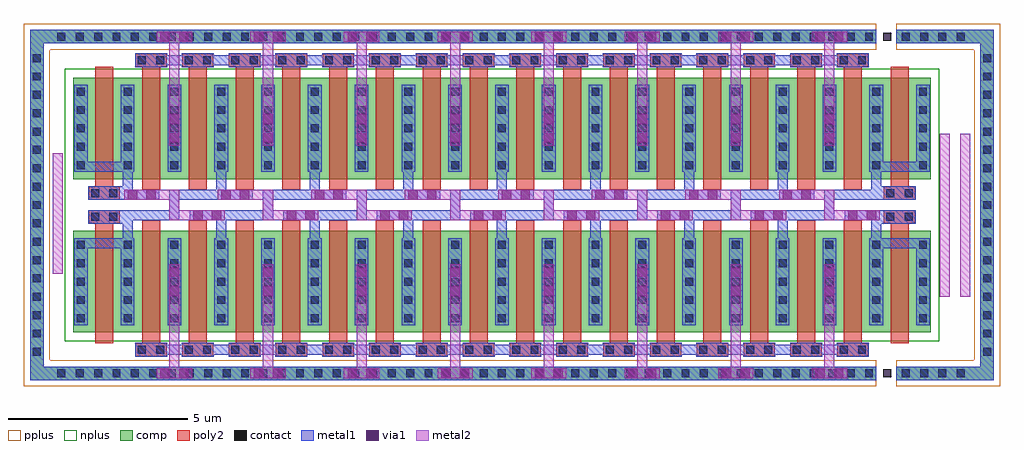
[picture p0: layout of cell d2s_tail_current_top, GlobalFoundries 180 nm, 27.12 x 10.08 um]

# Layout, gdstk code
from math import pi, radians
import gdstk
lib = gdstk.Library(unit=1e-6, precision=5e-09)
def R(c, l, rs):  # rectangles x0, y0, x1, y1
    for r in rs: c.add(gdstk.rectangle(r[:2], r[2:], *l))
def A(c, l, x, y, w, h, nx, ny, dx, dy):  # array of equal rectangles
    R(c, l, [(x+i*dx, y+j*dy, x+i*dx+w, y+j*dy+h) for i in range(nx) for j in range(ny)])
comp = (22, 0)
poly2 = (30, 0)
pplus = (31, 0)
nplus = (32, 0)
contact = (33, 0)
metal1 = (34, 0)
via1 = (35, 0)
metal2 = (36, 0)

d2s_tail_current_ncell_1 = lib.new_cell('d2s_tail_current_ncell_1$1$1')
R(d2s_tail_current_ncell_1, comp, [(0,0.3,0.42,3.12), (0.42,0.3,1.3,3.12), (1.3,0.3,1.72,3.12)])
R(d2s_tail_current_ncell_1, poly2, [(0.61,0,1.11,3.42)])
A(d2s_tail_current_ncell_1, contact, 0.1, 0.58, 0.22, 0.22, 1, 5, 0, 0.51)
A(d2s_tail_current_ncell_1, contact, 1.4, 0.58, 0.22, 0.22, 1, 5, 0, 0.51)
R(d2s_tail_current_ncell_1, metal1, [(0.02,0.5,0.4,2.92), (1.32,0.5,1.7,2.92)])

d2s_tail_current_ncell_4 = lib.new_cell('d2s_tail_current_ncell_4$1')
A(d2s_tail_current_ncell_4, poly2, 0.425, 3.42, 0.87, 0.36, 4, 1, 1.3, 0)
R(d2s_tail_current_ncell_4, contact, [(0.495,3.49,0.715,3.71), (1.005,3.49,1.225,3.71), (1.795,3.49,2.015,3.71), (2.305,3.49,2.525,3.71), (3.095,3.49,3.315,3.71), (3.605,3.49,3.825,3.71), (4.395,3.49,4.615,3.71), (4.905,3.49,5.125,3.71)])
A(d2s_tail_current_ncell_4, metal1, 0.415, 3.41, 0.89, 0.38, 4, 1, 1.3, 0)
d2s_tail_current_ncell_4.add(gdstk.Reference(d2s_tail_current_ncell_1, (0,0)))
d2s_tail_current_ncell_4.add(gdstk.Reference(d2s_tail_current_ncell_1, (1.3,0)))
d2s_tail_current_ncell_4.add(gdstk.Reference(d2s_tail_current_ncell_1, (2.6,0)))
d2s_tail_current_ncell_4.add(gdstk.Reference(d2s_tail_current_ncell_1, (3.9,0)))

c_d2s_tail_current_ncell_4 = lib.new_cell('d2s_tail_current_ncell_4_4')
R(c_d2s_tail_current_ncell_4, via1, [(1.12,0.23,1.38,0.49), (1.64,0.23,1.9,0.49), (3.72,0.23,3.98,0.49), (4.24,0.23,4.5,0.49), (1.38,2.52,1.64,2.78), (3.98,2.52,4.24,2.78), (1.38,3.04,1.64,3.3), (3.98,3.04,4.24,3.3), (2.03,4.63,2.29,4.89), (2.55,4.63,2.81,4.89), (4.63,4.63,4.89,4.89), (5.15,4.63,5.41,4.89), (0.21,5.19,0.47,5.45), (0.73,5.19,0.99,5.45), (2.81,5.19,3.07,5.45), (3.33,5.19,3.59,5.45), (1.38,6.78,1.64,7.04), (3.98,6.78,4.24,7.04), (1.38,7.3,1.64,7.56), (3.98,7.3,4.24,7.56), (1.12,9.59,1.38,9.85), (1.64,9.59,1.9,9.85), (3.72,9.59,3.98,9.85), (4.24,9.59,4.5,9.85)])
c_d2s_tail_current_ncell_4.add(gdstk.FlexPath([(1.305,1.02),(5.41,1.02)], 0.28, ends="flush", simple_path=True, layer=34, datatype=0))  # metal1
c_d2s_tail_current_ncell_4.add(gdstk.FlexPath([(2.81,5.96),(2.81,5.46)], 0.28, ends="flush", simple_path=True, layer=34, datatype=0))  # metal1
c_d2s_tail_current_ncell_4.add(gdstk.FlexPath([(0.21,9.72),(5.41,9.72)], 0.38, ends="flush", simple_path=True, layer=34, datatype=0))  # metal1
c_d2s_tail_current_ncell_4.add(gdstk.FlexPath([(2.81,4.12),(2.81,4.62)], 0.28, ends="flush", simple_path=True, layer=34, datatype=0))  # metal1
c_d2s_tail_current_ncell_4.add(gdstk.FlexPath([(0.21,4.12),(0.21,4.62)], 0.28, ends="flush", simple_path=True, layer=34, datatype=0))  # metal1
c_d2s_tail_current_ncell_4.add(gdstk.FlexPath([(0.21,5.96),(0.21,5.46)], 0.28, ends="flush", simple_path=True, layer=34, datatype=0))  # metal1
c_d2s_tail_current_ncell_4.add(gdstk.FlexPath([(2.91,5.32),(1.51,5.32),(1.51,4.76),(0.07,4.76)], 0.28, ends="flush", simple_path=True, layer=34, datatype=0))  # metal1
c_d2s_tail_current_ncell_4.add(gdstk.FlexPath([(1.09,5.32),(0.07,5.32)], 0.28, ends="flush", simple_path=True, layer=34, datatype=0))  # metal1
c_d2s_tail_current_ncell_4.add(gdstk.FlexPath([(5.41,4.12),(5.41,4.62)], 0.28, ends="flush", simple_path=True, layer=34, datatype=0))  # metal1
c_d2s_tail_current_ncell_4.add(gdstk.FlexPath([(5.55,5.32),(4.11,5.32),(4.11,4.76),(2.71,4.76)], 0.28, ends="flush", simple_path=True, layer=34, datatype=0))  # metal1
c_d2s_tail_current_ncell_4.add(gdstk.FlexPath([(3.69,5.32),(2.71,5.32)], 0.28, ends="flush", simple_path=True, layer=34, datatype=0))  # metal1
c_d2s_tail_current_ncell_4.add(gdstk.FlexPath([(5.41,5.96),(5.41,5.46)], 0.28, ends="flush", simple_path=True, layer=34, datatype=0))  # metal1
c_d2s_tail_current_ncell_4.add(gdstk.FlexPath([(2.81,4.12),(2.81,4.62)], 0.28, ends="flush", simple_path=True, layer=34, datatype=0))  # metal1
c_d2s_tail_current_ncell_4.add(gdstk.FlexPath([(5.55,4.76),(4.53,4.76)], 0.28, ends="flush", simple_path=True, layer=34, datatype=0))  # metal1
c_d2s_tail_current_ncell_4.add(gdstk.FlexPath([(2.81,5.96),(2.81,5.46)], 0.28, ends="flush", simple_path=True, layer=34, datatype=0))  # metal1
c_d2s_tail_current_ncell_4.add(gdstk.FlexPath([(2.91,4.76),(1.93,4.76)], 0.28, ends="flush", simple_path=True, layer=34, datatype=0))  # metal1
c_d2s_tail_current_ncell_4.add(gdstk.FlexPath([(1.305,9.06),(5.41,9.06)], 0.28, ends="flush", simple_path=True, layer=34, datatype=0))  # metal1
c_d2s_tail_current_ncell_4.add(gdstk.FlexPath([(0.21,0.36),(5.41,0.36)], 0.38, ends="flush", simple_path=True, layer=34, datatype=0))  # metal1
c_d2s_tail_current_ncell_4.add(gdstk.FlexPath([(0.21,9.72),(5.41,9.72)], 0.38, ends="flush", simple_path=True, layer=22, datatype=0))  # comp
c_d2s_tail_current_ncell_4.add(gdstk.FlexPath([(0.21,0.36),(5.41,0.36)], 0.38, ends="flush", simple_path=True, layer=22, datatype=0))  # comp
c_d2s_tail_current_ncell_4.add(gdstk.FlexPath([(2.91,4.76),(1.51,4.76),(1.51,5.32),(0.11,5.32)], 0.28, ends="flush", simple_path=True, layer=36, datatype=0))  # metal2
c_d2s_tail_current_ncell_4.add(gdstk.FlexPath([(5.51,4.76),(4.11,4.76),(4.11,5.32),(2.71,5.32)], 0.28, ends="flush", simple_path=True, layer=36, datatype=0))  # metal2
c_d2s_tail_current_ncell_4.add(gdstk.FlexPath([(4.11,6.68),(4.11,7.66)], 0.28, ends="flush", simple_path=True, layer=36, datatype=0))  # metal2
c_d2s_tail_current_ncell_4.add(gdstk.FlexPath([(1.51,6.68),(1.51,7.66)], 0.28, ends="flush", simple_path=True, layer=36, datatype=0))  # metal2
c_d2s_tail_current_ncell_4.add(gdstk.FlexPath([(4.11,2.42),(4.11,3.4)], 0.28, ends="flush", simple_path=True, layer=36, datatype=0))  # metal2
c_d2s_tail_current_ncell_4.add(gdstk.FlexPath([(1.51,2.42),(1.51,3.4)], 0.28, ends="flush", simple_path=True, layer=36, datatype=0))  # metal2
c_d2s_tail_current_ncell_4.add(gdstk.FlexPath([(1.02,9.72),(2,9.72)], 0.28, ends="flush", simple_path=True, layer=36, datatype=0))  # metal2
c_d2s_tail_current_ncell_4.add(gdstk.FlexPath([(1.51,7.66),(1.51,9.58)], 0.28, ends="flush", simple_path=True, layer=36, datatype=0))  # metal2
c_d2s_tail_current_ncell_4.add(gdstk.FlexPath([(4.11,7.66),(4.11,9.58)], 0.28, ends="flush", simple_path=True, layer=36, datatype=0))  # metal2
c_d2s_tail_current_ncell_4.add(gdstk.FlexPath([(3.62,9.72),(4.6,9.72)], 0.28, ends="flush", simple_path=True, layer=36, datatype=0))  # metal2
c_d2s_tail_current_ncell_4.add(gdstk.FlexPath([(1.02,0.36),(2,0.36)], 0.28, ends="flush", simple_path=True, layer=36, datatype=0))  # metal2
c_d2s_tail_current_ncell_4.add(gdstk.FlexPath([(1.51,2.42),(1.51,0.5)], 0.28, ends="flush", simple_path=True, layer=36, datatype=0))  # metal2
c_d2s_tail_current_ncell_4.add(gdstk.FlexPath([(4.11,2.42),(4.11,0.5)], 0.28, ends="flush", simple_path=True, layer=36, datatype=0))  # metal2
c_d2s_tail_current_ncell_4.add(gdstk.FlexPath([(3.62,0.36),(4.6,0.36)], 0.28, ends="flush", simple_path=True, layer=36, datatype=0))  # metal2
c_d2s_tail_current_ncell_4.add(gdstk.FlexPath([(0.21,9.72),(5.41,9.72)], 0.72, ends="flush", simple_path=True, layer=31, datatype=0))  # pplus
c_d2s_tail_current_ncell_4.add(gdstk.FlexPath([(0.21,0.36),(5.41,0.36)], 0.72, ends="flush", simple_path=True, layer=31, datatype=0))  # pplus
c_d2s_tail_current_ncell_4.add(gdstk.Reference(d2s_tail_current_ncell_4, (0,5.46)))
c_d2s_tail_current_ncell_4.add(gdstk.Reference(d2s_tail_current_ncell_4, (0,4.62), x_reflection=True))

c_d2s_tail_current_ncell_1 = lib.new_cell('d2s_tail_current_ncell_1')
R(c_d2s_tail_current_ncell_1, comp, [(0,0.3,0.42,3.12), (0.42,0.3,1.3,3.12), (1.3,0.3,1.72,3.12)])
R(c_d2s_tail_current_ncell_1, poly2, [(0.61,0,1.11,3.42)])
A(c_d2s_tail_current_ncell_1, contact, 0.1, 0.58, 0.22, 0.22, 1, 5, 0, 0.51)
A(c_d2s_tail_current_ncell_1, contact, 1.4, 0.58, 0.22, 0.22, 1, 5, 0, 0.51)
R(c_d2s_tail_current_ncell_1, metal1, [(0.02,0.5,0.4,2.92), (1.32,0.5,1.7,2.92)])

d2s_tail_current_top = lib.new_cell('d2s_tail_current_top')
R(d2s_tail_current_top, poly2, [(1.795,4.53,2.665,4.89), (23.895,4.53,24.765,4.89), (1.795,5.19,2.665,5.55), (23.895,5.19,24.765,5.55)])
R(d2s_tail_current_top, nplus, [(1.13,1.26,25.43,8.82)])
A(d2s_tail_current_top, contact, 0.93, 0.25, 0.22, 0.22, 50, 2, 0.51, 9.36)
A(d2s_tail_current_top, contact, 0.25, 0.85, 0.22, 0.22, 1, 17, 0, 0.51)
A(d2s_tail_current_top, contact, 26.65, 0.85, 0.22, 0.22, 1, 17, 0, 0.51)
R(d2s_tail_current_top, contact, [(1.865,4.6,2.085,4.82), (2.375,4.6,2.595,4.82), (23.965,4.6,24.185,4.82), (24.475,4.6,24.695,4.82), (1.865,5.26,2.085,5.48), (2.375,5.26,2.595,5.48), (23.965,5.26,24.185,5.48), (24.475,5.26,24.695,5.48)])
R(d2s_tail_current_top, metal1, [(1.785,4.52,2.675,4.9), (2.675,4.52,2.74,4.9), (23.82,4.52,23.885,4.9), (23.885,4.52,24.775,4.9), (1.785,5.18,2.675,5.56), (2.675,5.18,2.74,5.56), (23.82,5.18,23.885,5.56), (23.885,5.18,24.775,5.56)])
d2s_tail_current_top.add(gdstk.FlexPath([(24.24,9.72),(26.76,9.72),(26.76,0.36),(24.24,0.36)], 0.38, ends="flush", simple_path=True, layer=34, datatype=0))  # metal1
d2s_tail_current_top.add(gdstk.FlexPath([(2.88,9.72),(0.36,9.72),(0.36,0.36),(2.88,0.36)], 0.38, ends="flush", simple_path=True, layer=34, datatype=0))  # metal1
d2s_tail_current_top.add(gdstk.FlexPath([(13.075,9.06),(13.485,9.06)], 0.28, ends="flush", simple_path=True, layer=34, datatype=0))  # metal1
d2s_tail_current_top.add(gdstk.FlexPath([(13.075,1.02),(13.485,1.02)], 0.28, ends="flush", simple_path=True, layer=34, datatype=0))  # metal1
d2s_tail_current_top.add(gdstk.FlexPath([(24.79,6.1),(23.87,6.1)], 0.28, ends="flush", simple_path=True, layer=34, datatype=0))  # metal1
d2s_tail_current_top.add(gdstk.FlexPath([(24.79,3.98),(23.87,3.98)], 0.28, ends="flush", simple_path=True, layer=34, datatype=0))  # metal1
d2s_tail_current_top.add(gdstk.FlexPath([(1.77,6.1),(2.69,6.1)], 0.28, ends="flush", simple_path=True, layer=34, datatype=0))  # metal1
d2s_tail_current_top.add(gdstk.FlexPath([(1.77,3.98),(2.69,3.98)], 0.28, ends="flush", simple_path=True, layer=34, datatype=0))  # metal1
d2s_tail_current_top.add(gdstk.FlexPath([(24.24,9.72),(26.76,9.72),(26.76,0.36),(24.24,0.36)], 0.38, ends="flush", simple_path=True, layer=22, datatype=0))  # comp
d2s_tail_current_top.add(gdstk.FlexPath([(2.88,9.72),(0.36,9.72),(0.36,0.36),(2.88,0.36)], 0.38, ends="flush", simple_path=True, layer=22, datatype=0))  # comp
d2s_tail_current_top.add(gdstk.FlexPath([(25.59,7.025),(25.59,2.49)], 0.28, ends="flush", simple_path=True, layer=36, datatype=0))  # metal2
d2s_tail_current_top.add(gdstk.FlexPath([(0.935,6.48),(0.935,3.13)], 0.28, ends="flush", simple_path=True, layer=36, datatype=0))  # metal2
d2s_tail_current_top.add(gdstk.FlexPath([(26.15,7.025),(26.15,2.49)], 0.28, ends="flush", simple_path=True, layer=36, datatype=0))  # metal2
d2s_tail_current_top.add(gdstk.FlexPath([(24.24,9.72),(26.76,9.72),(26.76,0.36),(24.24,0.36)], 0.72, ends="flush", simple_path=True, layer=31, datatype=0))  # pplus
d2s_tail_current_top.add(gdstk.FlexPath([(2.88,9.72),(0.36,9.72),(0.36,0.36),(2.88,0.36)], 0.72, ends="flush", simple_path=True, layer=31, datatype=0))  # pplus
d2s_tail_current_top.add(gdstk.Reference(c_d2s_tail_current_ncell_4, (13.49,10.08), rotation=pi))
d2s_tail_current_top.add(gdstk.Reference(c_d2s_tail_current_ncell_1, (23.47,5.46)))
d2s_tail_current_top.add(gdstk.Reference(c_d2s_tail_current_ncell_1, (23.47,1.2)))
d2s_tail_current_top.add(gdstk.Reference(c_d2s_tail_current_ncell_1, (3.09,5.46), rotation=pi, x_reflection=True))
d2s_tail_current_top.add(gdstk.Reference(c_d2s_tail_current_ncell_1, (3.09,1.2), rotation=pi, x_reflection=True))
d2s_tail_current_top.add(gdstk.Reference(c_d2s_tail_current_ncell_4, (23.89,10.08), rotation=pi))
d2s_tail_current_top.add(gdstk.Reference(c_d2s_tail_current_ncell_4, (13.07,0)))
d2s_tail_current_top.add(gdstk.Reference(c_d2s_tail_current_ncell_4, (2.67,0)))

lib.write_gds('d2s_tail_current_top.gds')
